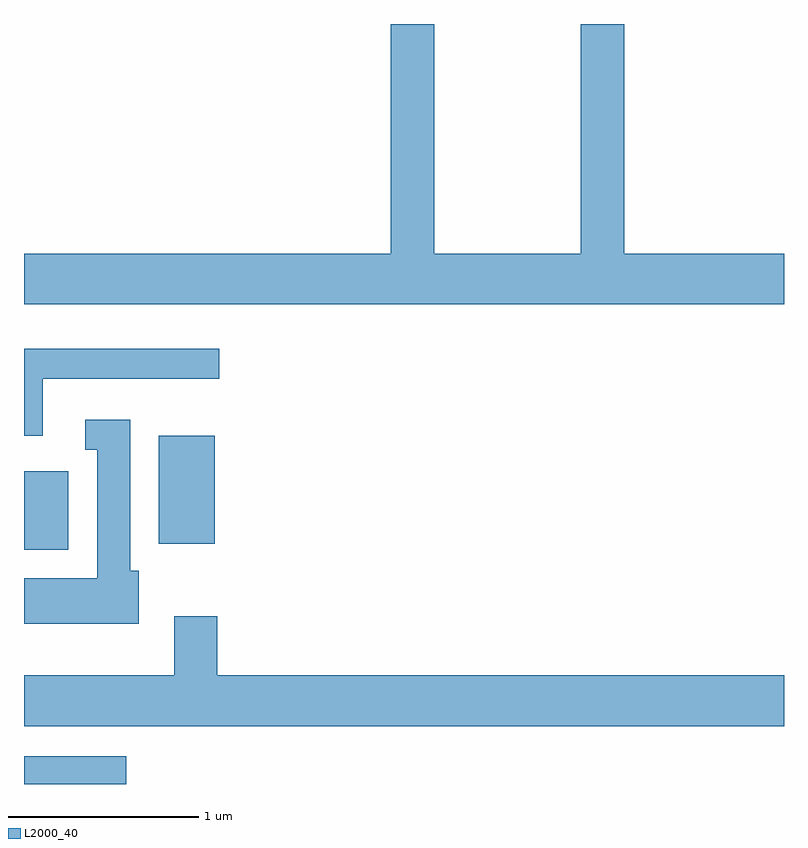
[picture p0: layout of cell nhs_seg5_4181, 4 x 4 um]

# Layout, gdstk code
import gdstk
lib = gdstk.Library(unit=1e-6, precision=1e-09)
def R(c, l, rs):  # rectangles x0, y0, x1, y1
    for r in rs: c.add(gdstk.rectangle(r[:2], r[2:], *l))
def P(c, l, *ps):  # polygons
    for p in ps: c.add(gdstk.Polygon(p, *l))
L2000_40 = (2000, 40)

nhs_seg5_4181 = lib.new_cell('nhs_seg5_4181')
R(nhs_seg5_4181, L2000_40, [(309.611,1432.072,310.148,1432.219), (309.611,1433.306,309.844,1433.719), (310.321,1433.336,310.614,1433.904)])
P(nhs_seg5_4181, L2000_40, [(313.611,1434.864),(312.769,1434.864),(312.769,1436.072),(312.541,1436.072),(312.541,1434.864),(311.769,1434.864),(311.769,1436.072),(311.541,1436.072),(311.541,1434.864),(309.611,1434.864),(309.611,1434.596),(313.611,1434.596)],
  [(309.709,1434.206),(310.638,1434.206),(310.638,1434.364),(309.611,1434.364),(309.611,1433.906),(309.709,1433.906)],
  [(310.214,1433.194),(310.169,1433.194),(310.169,1433.989),(309.933,1433.989),(309.933,1433.831),(309.996,1433.831),(309.996,1433.154),(309.611,1433.154),(309.611,1432.916),(310.214,1432.916)],
  [(313.611,1432.644),(310.629,1432.644),(310.629,1432.954),(310.401,1432.954),(310.401,1432.644),(309.611,1432.644),(309.611,1432.376),(313.611,1432.376)])

lib.write_gds('nhs_seg5_4181.gds')
